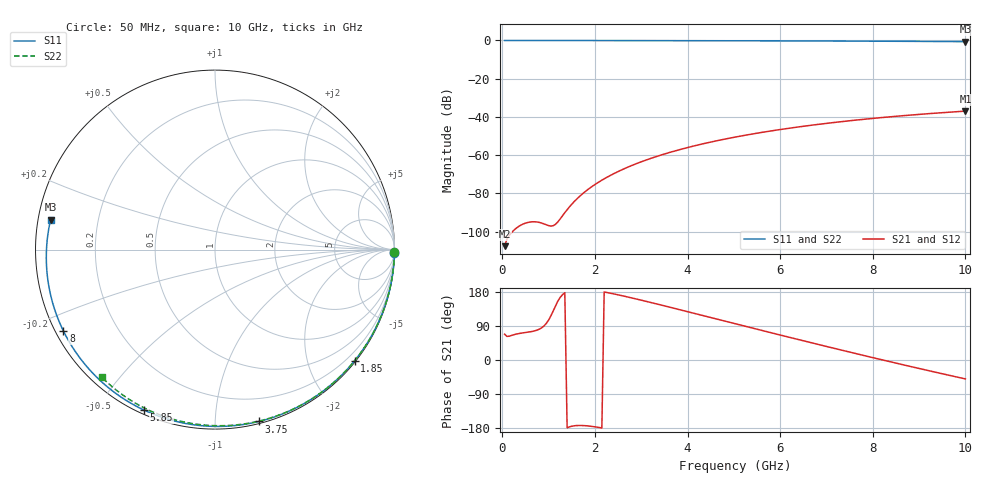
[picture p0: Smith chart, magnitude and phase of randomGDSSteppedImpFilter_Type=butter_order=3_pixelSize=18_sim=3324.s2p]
! freq	dB(S11)	phase(S11)	dB(S12)	phase(S12)
!  dB(S21)	phase(S21)	dB(S22)	phase(S22)
!S-par simulation data
#  GHz  S  DB  R 50
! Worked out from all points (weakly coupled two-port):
!   200 points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, 50 MHz to 10 GHz, reference 50 ohm
!   highest |S21| = -36.97 dB at 10 GHz (marker M1); lowest = -107.6 dB at 50 MHz (marker M2)
!   lowest |S11| = -0.6 dB at 10 GHz (marker M3), VSWR 28.01, Z = 1.8 + j4.49 ohm
!   |S11| at or under -10 dB: nowhere
!   |S22| runs from -0.4 to 0.0 dB; largest |S21 - S12| = 0
!   S11 on the Smith chart (normalised r, x): 50 MHz: open; 1.85 GHz: 0.03, -2.86; 3.75 GHz: 0.02, -1.29; 5.85 GHz: 0.02, -0.65; 8 GHz: 0.02, -0.25; 10 GHz: 0.04, +0.09
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0.05  -0.00 -1.1  -107.61 68.2  -107.61 68.2  -0.00 -0.8
0.45  -0.01 -9.5  -96.02 71.6  -96.02 71.6  -0.01 -6.8
0.85  -0.02 -17.9  -95.52 85.0  -95.52 85.0  -0.02 -12.9
1.3  -0.03 -27.3  -91.70 172.3  -91.70 172.3  -0.02 -19.6
1.75  -0.05 -36.5  -79.85 -173.0  -79.85 -173.0  -0.03 -26.2
1.85  -0.05 -38.5  -77.93 -174.0  -77.93 -174.0  -0.04 -27.7
2.15  -0.06 -44.6  -73.08 -179.4  -73.08 -179.4  -0.04 -32.1
2.5  -0.07 -51.5  -68.58 172.0  -68.58 172.0  -0.05 -37.1
2.9  -0.08 -59.4  -64.40 160.8  -64.40 160.8  -0.06 -42.9
3.4  -0.09 -69.1  -60.15 146.0  -60.15 146.0  -0.07 -49.9
3.75  -0.10 -75.7  -57.63 135.3  -57.63 135.3  -0.07 -54.8
4.4  -0.13 -87.8  -53.69 115.2  -53.69 115.2  -0.09 -63.6
5.05  -0.15 -99.6  -50.44 95.1  -50.44 95.1  -0.11 -72.3
5.85  -0.20 -113.8  -47.15 70.5  -47.15 70.5  -0.14 -82.5
6.7  -0.25 -128.8  -44.26 44.7  -44.26 44.7  -0.18 -93.1
7.35  -0.31 -140.2  -42.40 25.3  -42.40 25.3  -0.22 -101.0
8  -0.37 -151.8  -40.77 6.2  -40.77 6.2  -0.26 -108.7
8.35  -0.40 -158.2  -39.99 -3.9  -39.99 -3.9  -0.29 -112.7
8.8  -0.46 -166.5  -39.06 -16.7  -39.06 -16.7  -0.32 -117.9
9.2  -0.51 -174.2  -38.30 -28.0  -38.30 -28.0  -0.36 -122.5
9.6  -0.56 177.9  -37.61 -39.0  -37.61 -39.0  -0.40 -127.0
10  -0.62 169.7  -36.97 -49.9  -36.97 -49.9  -0.44 -131.5
